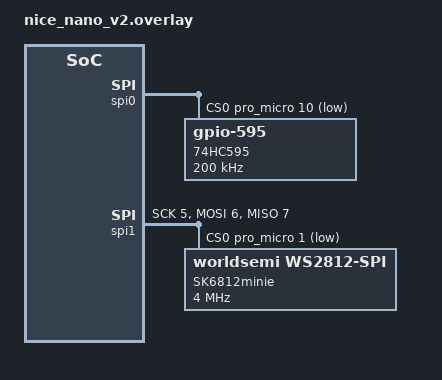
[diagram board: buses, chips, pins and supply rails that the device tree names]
#include <dt-bindings/led/led.h>

&spi0 {
    compatible = "nordic,nrf-spim";
    /* Cannot be used together with i2c0. */
    status = "okay";
    mosi-pin = <(32*0+10)>;  // P0_10
    sck-pin = <(32*1+13)>;  // P1_13
    miso-pin = <(32*1+11)>;  // P1_11
    cs-gpios = <&pro_micro 10 GPIO_ACTIVE_LOW>;

    shift_reg: 595@0 {
        compatible = "zmk,gpio-595";
        status = "okay";
        gpio-controller;
        spi-max-frequency = <200000>;
        reg = <0>;
        label = "74HC595";
        #gpio-cells = <2>;
        ngpios = <8>;
    };
};

&spi1 {
    compatible = "nordic,nrf-spim";
    /* Cannot be used together with i2c0. */
    status = "okay";
    mosi-pin = <6>;  // P0_06
    // Unused pins, needed for SPI definition, but not used by the ws2812 driver itself.
    sck-pin = <5>;  // P0_05
    miso-pin = <7>;  // P0_07
    cs-gpios = <&pro_micro 1 GPIO_ACTIVE_LOW>;

    led_strip: ws2812@0 {
        compatible = "worldsemi,ws2812-spi";
        label = "SK6812minie";

        /* SPI */
        reg = <0>; /* ignored, but necessary for SPI bindings */
        spi-max-frequency = <4000000>;

        /* WS2812 */
        chain-length = <42>;
        spi-one-frame = <0x70>;
        spi-zero-frame = <0x40>;
        color-mapping = <LED_COLOR_ID_GREEN
                         LED_COLOR_ID_RED
                         LED_COLOR_ID_BLUE>;
    };
};

/ {
    chosen {
        zmk,underglow = &led_strip;
    };
};
